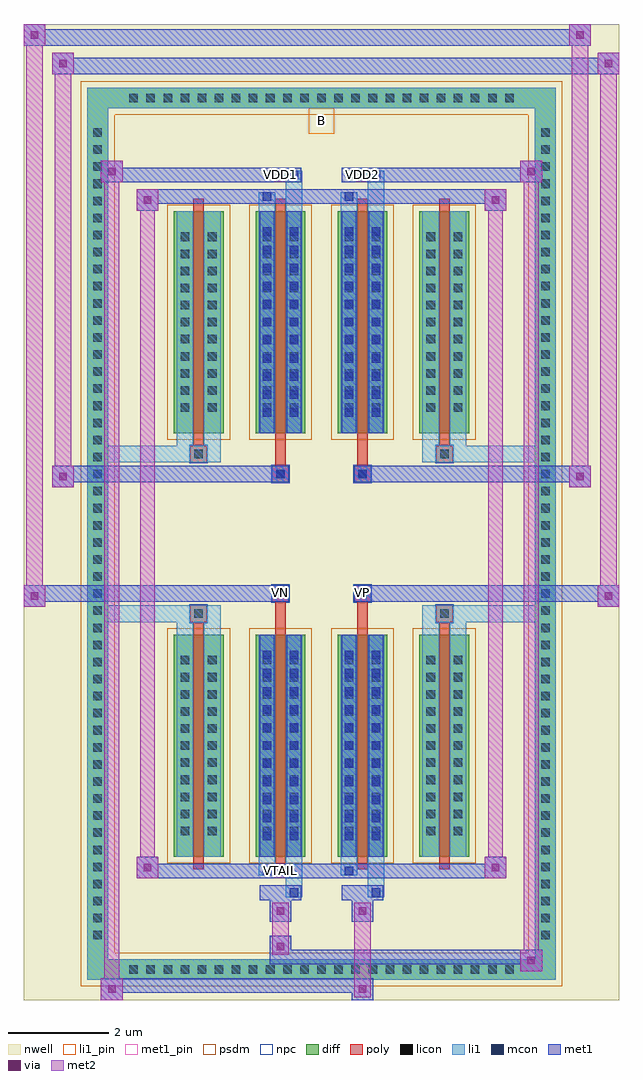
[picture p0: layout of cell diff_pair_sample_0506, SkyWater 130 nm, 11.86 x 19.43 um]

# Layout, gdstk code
import gdstk
lib = gdstk.Library(unit=1e-6, precision=5e-09)
def R(c, l, rs):  # rectangles x0, y0, x1, y1
    for r in rs: c.add(gdstk.rectangle(r[:2], r[2:], *l))
def A(c, l, x, y, w, h, nx, ny, dx, dy):  # array of equal rectangles
    R(c, l, [(x+i*dx, y+j*dy, x+i*dx+w, y+j*dy+h) for i in range(nx) for j in range(ny)])
def P(c, l, *ps):  # polygons
    for p in ps: c.add(gdstk.Polygon(p, *l))
nwell = (64, 20)
diff = (65, 20)
poly = (66, 20)
licon = (66, 44)
li1_pin = (67, 16)
li1 = (67, 20)
mcon = (67, 44)
met1_pin = (68, 16)
met1 = (68, 20)
via = (68, 44)
met2 = (69, 20)
psdm = (94, 20)
npc = (95, 20)

diff_pair_sample_0506 = lib.new_cell('diff_pair_sample_0506')
R(diff_pair_sample_0506, nwell, [(-5.93,-9.28,5.93,10.15), (-3.25,-7.47,-0.01,-0.825), (0.01,-7.47,3.25,-0.825), (-3.25,0.825,-0.01,7.47), (0.01,0.825,3.25,7.47)])
A(diff_pair_sample_0506, diff, -3.945, -8.88, 0.41, 0.41, 23, 2, 0.34, 17.35)
A(diff_pair_sample_0506, diff, -4.66, -8.195, 0.41, 0.41, 1, 48, 0, 0.34)
A(diff_pair_sample_0506, diff, 4.25, -8.195, 0.41, 0.41, 1, 48, 0, 0.34)
A(diff_pair_sample_0506, diff, -2.94, -6.425, 0.99, 4.42, 4, 2, 1.63, 8.43)
R(diff_pair_sample_0506, diff, [(-3.945,-8.88,3.945,-8.47), (-4.66,-8.195,-4.25,8.195), (4.25,-8.195,4.66,8.195), (-3.945,8.47,3.945,8.88)])
P(diff_pair_sample_0506, diff, [(4.66,8.88),(-4.66,8.88),(-4.66,-8.47),(-4.25,-8.47),(-4.25,8.47),(4.25,8.47),(4.25,-8.47),(-4.25,-8.47),(-4.66,-8.47),(-4.66,-8.88),(4.66,-8.88)])
A(diff_pair_sample_0506, poly, -2.55, -6.675, 0.21, 4.92, 4, 2, 1.63, 8.43)
R(diff_pair_sample_0506, poly, [(-2.61,-1.755,-2.28,-1.425), (-2.61,-1.755,-2.28,-1.425), (-0.92,-1.755,-0.71,-1.355), (0.71,-1.755,0.92,-1.355), (2.28,-1.755,2.61,-1.425), (2.28,-1.755,2.61,-1.425), (-0.98,-1.355,-0.65,-1.025), (-0.98,-1.355,-0.65,-1.025), (0.65,-1.355,0.98,-1.025), (0.65,-1.355,0.98,-1.025), (-0.98,1.025,-0.65,1.355), (-0.98,1.025,-0.65,1.355), (0.65,1.025,0.98,1.355), (0.65,1.025,0.98,1.355), (-0.92,1.355,-0.71,1.755), (0.71,1.355,0.92,1.755), (-2.61,1.425,-2.28,1.755), (-2.61,1.425,-2.28,1.755), (2.28,1.425,2.61,1.755), (2.28,1.425,2.61,1.755)])
A(diff_pair_sample_0506, licon, -3.825, -8.76, 0.17, 0.17, 23, 2, 0.34, 17.35)
A(diff_pair_sample_0506, licon, -4.54, -8.075, 0.17, 0.17, 1, 48, 0, 0.34)
A(diff_pair_sample_0506, licon, 4.37, -8.075, 0.17, 0.17, 1, 48, 0, 0.34)
A(diff_pair_sample_0506, licon, -2.8, -6, 0.17, 0.17, 1, 11, 0, 0.34)
A(diff_pair_sample_0506, licon, -2.26, -6, 0.17, 0.17, 1, 11, 0, 0.34)
A(diff_pair_sample_0506, licon, -1.17, -6, 0.17, 0.17, 1, 11, 0, 0.34)
A(diff_pair_sample_0506, licon, -0.63, -6, 0.17, 0.17, 1, 11, 0, 0.34)
A(diff_pair_sample_0506, licon, 0.46, -6, 0.17, 0.17, 1, 11, 0, 0.34)
A(diff_pair_sample_0506, licon, 1, -6, 0.17, 0.17, 1, 11, 0, 0.34)
A(diff_pair_sample_0506, licon, 2.09, -6, 0.17, 0.17, 1, 11, 0, 0.34)
A(diff_pair_sample_0506, licon, 2.63, -6, 0.17, 0.17, 1, 11, 0, 0.34)
A(diff_pair_sample_0506, licon, -2.8, 2.43, 0.17, 0.17, 1, 11, 0, 0.34)
A(diff_pair_sample_0506, licon, -2.26, 2.43, 0.17, 0.17, 1, 11, 0, 0.34)
A(diff_pair_sample_0506, licon, -1.17, 2.43, 0.17, 0.17, 1, 11, 0, 0.34)
A(diff_pair_sample_0506, licon, -0.63, 2.43, 0.17, 0.17, 1, 11, 0, 0.34)
A(diff_pair_sample_0506, licon, 0.46, 2.43, 0.17, 0.17, 1, 11, 0, 0.34)
A(diff_pair_sample_0506, licon, 1, 2.43, 0.17, 0.17, 1, 11, 0, 0.34)
A(diff_pair_sample_0506, licon, 2.09, 2.43, 0.17, 0.17, 1, 11, 0, 0.34)
A(diff_pair_sample_0506, licon, 2.63, 2.43, 0.17, 0.17, 1, 11, 0, 0.34)
R(diff_pair_sample_0506, licon, [(-2.53,-1.675,-2.36,-1.505), (2.36,-1.675,2.53,-1.505), (-0.9,-1.275,-0.73,-1.105), (0.73,-1.275,0.9,-1.105), (-0.9,1.105,-0.73,1.275), (0.73,1.105,0.9,1.275), (-2.53,1.505,-2.36,1.675), (2.36,1.505,2.53,1.675)])
R(diff_pair_sample_0506, li1_pin, [(-0.25,7.97,0.25,8.47)])
A(diff_pair_sample_0506, li1, -3.905, -8.84, 0.33, 0.33, 23, 2, 0.34, 17.35)
A(diff_pair_sample_0506, li1, -4.62, -8.155, 0.33, 0.33, 1, 48, 0, 0.34)
A(diff_pair_sample_0506, li1, 4.29, -8.155, 0.33, 0.33, 1, 48, 0, 0.34)
A(diff_pair_sample_0506, li1, -1.17, -6.1, 0.17, 0.17, 1, 11, 0, 0.36)
A(diff_pair_sample_0506, li1, -0.63, -6.1, 0.17, 0.17, 1, 11, 0, 0.36)
A(diff_pair_sample_0506, li1, 0.46, -6.1, 0.17, 0.17, 1, 11, 0, 0.36)
A(diff_pair_sample_0506, li1, 1, -6.1, 0.17, 0.17, 1, 11, 0, 0.36)
A(diff_pair_sample_0506, li1, -2.88, -6.08, 0.33, 0.33, 1, 11, 0, 0.34)
A(diff_pair_sample_0506, li1, -2.34, -6.08, 0.33, 0.33, 1, 11, 0, 0.34)
A(diff_pair_sample_0506, li1, -1.25, -6.08, 0.33, 0.33, 1, 11, 0, 0.34)
A(diff_pair_sample_0506, li1, -0.71, -6.08, 0.33, 0.33, 1, 11, 0, 0.34)
A(diff_pair_sample_0506, li1, 0.38, -6.08, 0.33, 0.33, 1, 11, 0, 0.34)
A(diff_pair_sample_0506, li1, 0.92, -6.08, 0.33, 0.33, 1, 11, 0, 0.34)
A(diff_pair_sample_0506, li1, 2.01, -6.08, 0.33, 0.33, 1, 11, 0, 0.34)
A(diff_pair_sample_0506, li1, 2.55, -6.08, 0.33, 0.33, 1, 11, 0, 0.34)
A(diff_pair_sample_0506, li1, -1.17, 2.33, 0.17, 0.17, 1, 11, 0, 0.36)
A(diff_pair_sample_0506, li1, -0.63, 2.33, 0.17, 0.17, 1, 11, 0, 0.36)
A(diff_pair_sample_0506, li1, 0.46, 2.33, 0.17, 0.17, 1, 11, 0, 0.36)
A(diff_pair_sample_0506, li1, 1, 2.33, 0.17, 0.17, 1, 11, 0, 0.36)
A(diff_pair_sample_0506, li1, -2.88, 2.35, 0.33, 0.33, 1, 11, 0, 0.34)
A(diff_pair_sample_0506, li1, -2.34, 2.35, 0.33, 0.33, 1, 11, 0, 0.34)
A(diff_pair_sample_0506, li1, -1.25, 2.35, 0.33, 0.33, 1, 11, 0, 0.34)
A(diff_pair_sample_0506, li1, -0.71, 2.35, 0.33, 0.33, 1, 11, 0, 0.34)
A(diff_pair_sample_0506, li1, 0.38, 2.35, 0.33, 0.33, 1, 11, 0, 0.34)
A(diff_pair_sample_0506, li1, 0.92, 2.35, 0.33, 0.33, 1, 11, 0, 0.34)
A(diff_pair_sample_0506, li1, 2.01, 2.35, 0.33, 0.33, 1, 11, 0, 0.34)
A(diff_pair_sample_0506, li1, 2.55, 2.35, 0.33, 0.33, 1, 11, 0, 0.34)
R(diff_pair_sample_0506, li1, [(-4.66,-8.88,-4.25,-8.47), (-4.66,-8.88,-4.25,-8.47), (-4.25,-8.88,4.25,-8.47), (4.25,-8.88,4.66,-8.47), (4.25,-8.88,4.66,-8.47), (-4.66,-8.47,-4.25,8.47), (4.25,-8.47,4.66,8.47), (-0.71,-7.23,-0.38,-6.425), (-0.63,-7.23,-0.46,-7.06), (0.92,-7.23,1.25,-6.425), (1,-7.23,1.17,-7.06), (-1.25,-6.8,-0.92,-6.425), (-1.17,-6.8,-1,-6.63), (0.38,-6.8,0.71,-6.425), (0.46,-6.8,0.63,-6.63), (-2.88,-6.425,-2.55,-2.005), (-2.34,-6.425,-2.01,-2.005), (-1.25,-6.425,-0.92,-2.005), (-0.71,-6.425,-0.38,-2.005), (0.38,-6.425,0.71,-2.005), (0.92,-6.425,1.25,-2.005), (2.01,-6.425,2.34,-2.005), (2.55,-6.425,2.88,-2.005), (-1.17,-6.1,-1,-2.33), (-0.63,-6.1,-0.46,-2.33), (0.46,-6.1,0.63,-2.33), (1,-6.1,1.17,-2.33), (-2.88,-2.005,-2.55,-1.425), (-2.34,-2.005,-2.01,-1.425), (2.01,-2.005,2.34,-1.425), (2.55,-2.005,2.88,-1.425), (-4.66,-1.755,-2.61,-1.425), (-2.88,-1.755,-2.61,-1.425), (-2.61,-1.755,-2.28,-1.425), (-2.28,-1.755,-2.01,-1.425), (2.01,-1.755,2.28,-1.425), (2.28,-1.755,2.61,-1.425), (2.28,-1.755,4.66,-1.425), (2.61,-1.755,2.88,-1.425), (-0.98,-1.355,-0.65,-1.025), (0.65,-1.355,0.98,-1.025), (-0.98,1.025,-0.65,1.355), (0.65,1.025,0.98,1.355), (-4.66,1.425,-2.61,1.755), (-2.88,1.425,-2.61,1.755), (-2.88,1.425,-2.55,2.005), (-2.61,1.425,-2.28,1.755), (-2.34,1.425,-2.01,2.005), (-2.28,1.425,-2.01,1.755), (2.01,1.425,2.28,1.755), (2.01,1.425,2.34,2.005), (2.28,1.425,2.61,1.755), (2.28,1.425,4.66,1.755), (2.55,1.425,2.88,2.005), (2.61,1.425,2.88,1.755), (-2.88,2.005,-2.55,6.425), (-2.34,2.005,-2.01,6.425), (-1.25,2.005,-0.92,6.425), (-0.71,2.005,-0.38,6.425), (0.38,2.005,0.71,6.425), (0.92,2.005,1.25,6.425), (2.01,2.005,2.34,6.425), (2.55,2.005,2.88,6.425), (-1.17,2.33,-1,6.1), (-0.63,2.33,-0.46,6.1), (0.46,2.33,0.63,6.1), (1,2.33,1.17,6.1), (-1.25,6.425,-0.92,6.8), (-0.71,6.425,-0.38,7.23), (0.38,6.425,0.71,6.8), (0.92,6.425,1.25,7.23), (-1.17,6.63,-1,6.8), (0.46,6.63,0.63,6.8), (-0.63,7.06,-0.46,7.23), (1,7.06,1.17,7.23), (-4.66,8.47,-4.25,8.88), (-4.66,8.47,-4.25,8.88), (-4.25,8.47,4.25,8.88), (4.25,8.47,4.66,8.88), (4.25,8.47,4.66,8.88)])
A(diff_pair_sample_0506, mcon, -1.17, -6.1, 0.17, 0.17, 1, 11, 0, 0.36)
A(diff_pair_sample_0506, mcon, -0.63, -6.1, 0.17, 0.17, 1, 11, 0, 0.36)
A(diff_pair_sample_0506, mcon, 0.46, -6.1, 0.17, 0.17, 1, 11, 0, 0.36)
A(diff_pair_sample_0506, mcon, 1, -6.1, 0.17, 0.17, 1, 11, 0, 0.36)
A(diff_pair_sample_0506, mcon, -1.17, 2.33, 0.17, 0.17, 1, 11, 0, 0.36)
A(diff_pair_sample_0506, mcon, -0.63, 2.33, 0.17, 0.17, 1, 11, 0, 0.36)
A(diff_pair_sample_0506, mcon, 0.46, 2.33, 0.17, 0.17, 1, 11, 0, 0.36)
A(diff_pair_sample_0506, mcon, 1, 2.33, 0.17, 0.17, 1, 11, 0, 0.36)
R(diff_pair_sample_0506, mcon, [(-0.63,-7.23,-0.46,-7.06), (1,-7.23,1.17,-7.06), (-1.17,-6.8,-1,-6.63), (0.46,-6.8,0.63,-6.63), (-0.9,-1.275,-0.73,-1.105), (0.73,-1.275,0.9,-1.105), (-0.9,1.105,-0.73,1.275), (0.73,1.105,0.9,1.275), (-1.17,6.63,-1,6.8), (0.46,6.63,0.63,6.8), (-0.63,7.06,-0.46,7.23), (1,7.06,1.17,7.23)])
R(diff_pair_sample_0506, met1_pin, [(-0.95,-6.84,-0.68,-6.57), (-0.95,-1.295,-0.68,-1.025), (0.68,-1.295,0.95,-1.025), (-0.95,7.02,-0.68,7.29), (0.68,7.02,0.95,7.29)])
A(diff_pair_sample_0506, met1, -1.23, -6.16, 0.29, 0.29, 1, 11, 0, 0.36)
A(diff_pair_sample_0506, met1, -0.69, -6.16, 0.29, 0.29, 1, 11, 0, 0.36)
A(diff_pair_sample_0506, met1, 0.4, -6.16, 0.29, 0.29, 1, 11, 0, 0.36)
A(diff_pair_sample_0506, met1, 0.94, -6.16, 0.29, 0.29, 1, 11, 0, 0.36)
A(diff_pair_sample_0506, met1, -1.23, 2.27, 0.29, 0.29, 1, 11, 0, 0.36)
A(diff_pair_sample_0506, met1, -0.69, 2.27, 0.29, 0.29, 1, 11, 0, 0.36)
A(diff_pair_sample_0506, met1, 0.4, 2.27, 0.29, 0.29, 1, 11, 0, 0.36)
A(diff_pair_sample_0506, met1, 0.94, 2.27, 0.29, 0.29, 1, 11, 0, 0.36)
R(diff_pair_sample_0506, met1, [(-4.39,-9.28,-3.96,-8.85), (0.6,-9.28,1.03,-8.85), (-4.39,-9.14,1.03,-8.85), (3.96,-8.71,4.39,-8.28), (-1.03,-8.57,4.39,-8.28), (-1.03,-8.43,-0.6,-8), (-1.03,-7.72,-0.6,-7.29), (0.6,-7.72,1.03,-7.29), (-1.23,-7.29,-0.4,-7), (-0.69,-7.29,-0.4,-7), (0.4,-7.29,1.23,-7), (0.94,-7.29,1.23,-7), (-3.68,-6.86,-3.25,-6.43), (-3.68,-6.86,-1.23,-6.57), (-1.23,-6.86,-0.94,-6.57), (-1.23,-6.86,-0.4,-6.57), (-0.4,-6.86,0.4,-6.57), (0.4,-6.86,0.69,-6.57), (0.4,-6.86,1.23,-6.57), (1.23,-6.86,3.68,-6.57), (3.25,-6.86,3.68,-6.43), (-1.23,-6.425,-0.94,-2.005), (-0.69,-6.425,-0.4,-2.005), (0.4,-6.425,0.69,-2.005), (0.94,-6.425,1.23,-2.005), (-5.93,-1.455,-5.5,-1.025), (5.5,-1.455,5.93,-1.025), (-5.93,-1.355,-0.65,-1.025), (-0.98,-1.355,-0.65,-1.025), (0.65,-1.355,0.98,-1.025), (0.65,-1.355,5.93,-1.025), (-0.96,-1.335,-0.67,-1.045), (0.67,-1.335,0.96,-1.045), (-5.36,0.925,-4.93,1.355), (4.93,0.925,5.36,1.355), (-5.36,1.025,-0.98,1.355), (-0.98,1.025,-0.65,1.355), (0.65,1.025,0.98,1.355), (0.98,1.025,5.36,1.355), (-0.96,1.045,-0.67,1.335), (0.67,1.045,0.96,1.335), (-1.23,2.005,-0.94,6.425), (-0.69,2.005,-0.4,6.425), (0.4,2.005,0.69,6.425), (0.94,2.005,1.23,6.425), (-3.68,6.43,-3.25,6.86), (3.25,6.43,3.68,6.86), (-3.68,6.57,-1.23,6.86), (-1.23,6.57,-0.94,6.86), (-1.23,6.57,-0.4,6.86), (-0.4,6.57,0.4,6.86), (0.4,6.57,0.69,6.86), (0.4,6.57,1.23,6.86), (1.23,6.57,3.68,6.86), (-4.39,7,-3.96,7.43), (-4.39,7,-1.23,7.29), (-1.23,7,-0.4,7.29), (-0.69,7,-0.4,7.29), (0.4,7,1.23,7.29), (0.94,7,1.23,7.29), (1.23,7,4.39,7.29), (3.96,7,4.39,7.43), (-5.36,9.15,-4.93,9.58), (-5.36,9.15,-3.25,9.48), (-3.25,9.15,3.25,9.48), (3.25,9.15,5.93,9.48), (5.5,9.15,5.93,9.58), (-5.93,9.72,-5.5,10.15), (-5.93,9.72,-3.25,10.05), (-3.25,9.72,3.25,10.05), (3.25,9.72,5.36,10.05), (4.93,9.72,5.36,10.15)])
R(diff_pair_sample_0506, via, [(-4.25,-9.14,-4.1,-8.99), (0.74,-9.14,0.89,-8.99), (4.1,-8.57,4.25,-8.42), (-0.89,-8.29,-0.74,-8.14), (-0.89,-7.58,-0.74,-7.43), (0.74,-7.58,0.89,-7.43), (-3.54,-6.72,-3.39,-6.57), (3.39,-6.72,3.54,-6.57), (-5.79,-1.315,-5.64,-1.165), (5.64,-1.315,5.79,-1.165), (-5.22,1.065,-5.07,1.215), (5.07,1.065,5.22,1.215), (-3.54,6.57,-3.39,6.72), (3.39,6.57,3.54,6.72), (-4.25,7.14,-4.1,7.29), (4.1,7.14,4.25,7.29), (-5.22,9.29,-5.07,9.44), (5.64,9.29,5.79,9.44), (-5.79,9.86,-5.64,10.01), (5.07,9.86,5.22,10.01)])
R(diff_pair_sample_0506, met2, [(-4.39,-9.28,-3.96,-8.85), (-4.32,-9.28,-4.03,7.43), (-4.03,-9.28,-3.96,-8.85), (-4.34,-9.23,-4.01,-8.9), (0.65,-9.23,0.98,-8.9), (0.65,-8.9,0.98,-7.67), (3.96,-8.71,4.39,-8.28), (4.03,-8.71,4.32,7.43), (4.32,-8.71,4.39,-8.28), (4.01,-8.66,4.34,-8.33), (-0.98,-8.38,-0.65,-8.05), (-0.98,-8.05,-0.65,-7.67), (-0.98,-7.67,-0.65,-7.34), (0.65,-7.67,0.98,-7.34), (-3.68,-6.86,-3.25,-6.43), (-3.61,-6.86,-3.32,6.86), (-3.32,-6.86,-3.25,-6.43), (3.25,-6.86,3.68,-6.43), (3.32,-6.86,3.61,6.86), (3.61,-6.86,3.68,-6.43), (-3.63,-6.81,-3.3,-6.48), (3.3,-6.81,3.63,-6.48), (-5.93,-1.455,-5.5,-1.025), (-5.88,-1.455,-5.55,10.15), (-5.55,-1.455,-5.5,-1.025), (5.5,-1.455,5.93,-1.025), (5.55,-1.455,5.88,9.58), (5.88,-1.455,5.93,-1.025), (-5.88,-1.405,-5.55,-1.075), (5.55,-1.405,5.88,-1.075), (-5.36,0.925,-4.93,1.355), (-5.31,0.925,-4.98,9.58), (-4.98,0.925,-4.93,1.355), (4.93,0.925,5.36,1.355), (4.98,0.925,5.31,10.15), (5.31,0.925,5.36,1.355), (-5.31,0.975,-4.98,1.305), (4.98,0.975,5.31,1.305), (-3.68,6.43,-3.25,6.86), (-3.32,6.43,-3.25,6.86), (3.25,6.43,3.68,6.86), (3.61,6.43,3.68,6.86), (-3.63,6.48,-3.3,6.81), (3.3,6.48,3.63,6.81), (-4.39,7,-3.96,7.43), (-4.03,7,-3.96,7.43), (3.96,7,4.39,7.43), (4.32,7,4.39,7.43), (-4.34,7.05,-4.01,7.38), (4.01,7.05,4.34,7.38), (-5.36,9.15,-4.93,9.58), (-4.98,9.15,-4.93,9.58), (5.5,9.15,5.93,9.58), (5.88,9.15,5.93,9.58), (-5.31,9.2,-4.98,9.53), (5.55,9.2,5.88,9.53), (-5.93,9.72,-5.5,10.15), (-5.55,9.72,-5.5,10.15), (4.93,9.72,5.36,10.15), (5.31,9.72,5.36,10.15), (-5.88,9.77,-5.55,10.1), (4.98,9.77,5.31,10.1)])
A(diff_pair_sample_0506, psdm, -3.07, -6.555, 1.25, 4.68, 4, 2, 1.63, 8.43)
P(diff_pair_sample_0506, psdm, [(4.79,9.01),(-4.79,9.01),(-4.79,-8.34),(-4.12,-8.34),(-4.12,8.34),(4.12,8.34),(4.12,-8.34),(-4.12,-8.34),(-4.79,-8.34),(-4.79,-9.01),(4.79,-9.01)])
R(diff_pair_sample_0506, npc, [(-2.63,-1.775,-2.26,-1.405), (2.26,-1.775,2.63,-1.405), (-1,-1.375,-0.63,-1.005), (0.63,-1.375,1,-1.005), (-1,1.005,-0.63,1.375), (0.63,1.005,1,1.375), (-2.63,1.405,-2.26,1.775), (2.26,1.405,2.63,1.775)])
diff_pair_sample_0506.add(gdstk.Label('VTAIL', (-0.815,-6.705), layer=68, texttype=5))
diff_pair_sample_0506.add(gdstk.Label('VN', (-0.815,-1.16), layer=68, texttype=5))
diff_pair_sample_0506.add(gdstk.Label('VP', (0.815,-1.16), layer=68, texttype=5))
diff_pair_sample_0506.add(gdstk.Label('B', (0,8.22), layer=67, texttype=5))
diff_pair_sample_0506.add(gdstk.Label('VDD2', (0.815,7.155), layer=68, texttype=5))
diff_pair_sample_0506.add(gdstk.Label('VDD1', (-0.815,7.155), layer=68, texttype=5))

lib.write_gds('diff_pair_sample_0506.gds')
